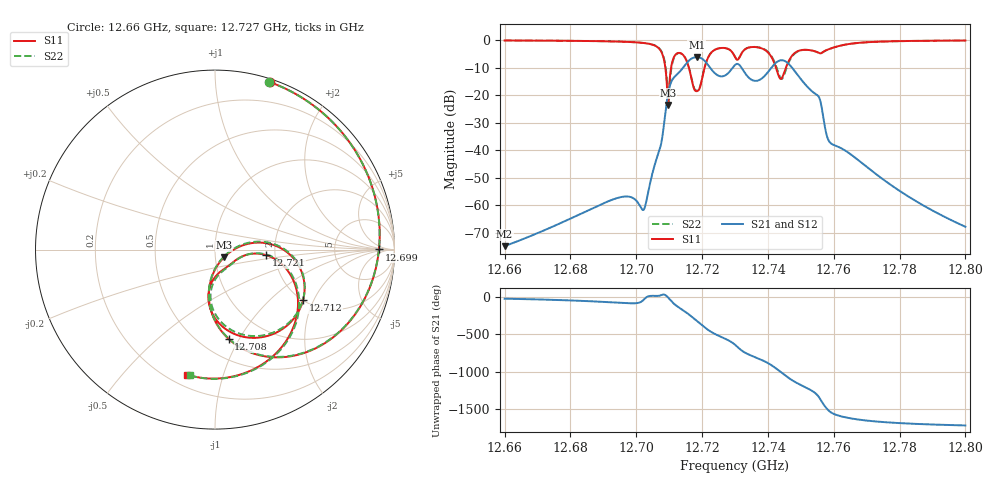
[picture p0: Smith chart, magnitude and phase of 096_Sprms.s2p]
! TOUCHSTONE file generated by CST MICROWAVE STUDIO
! Date and time: Wed Jul 31 15:35:21 2024
! Project name: WaveGuide_BPF-Ver4.1_U-shape_Ku_T3_C4_CWA_2.cst
! Parameters = {cavity_h=16; cavity_l0=10; cavity_l1=15.2036; cavity_l2=16.8186; cavity_l3=17.1157; cavity_l4=17.2529; cavity_l5=17.1453; cavity_l6=17.5694; cavity_r=2.5; cavity_screw_l=0.5; cavity_screw_r=1.5; cavity_w=8; iris_h00=0; iris_h01=8.8149; iris_h112=0; iris_h12=5.5873; iris_h211=3.6557; 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
! Header version: 2018
! Port assignment regex: !\s*Touchstone port\s*([0-9]+)\s*=\s*(CST MWS port|CST DS port)\s*([0-9]+|Zmin|Zmax)\s*\(\"(.*)\"\)(\s*mode\s*([0-9]+))?.*
! Touchstone port assignment:
! Touchstone port 1 = CST MWS port 1 ("")
! Touchstone port 2 = CST MWS port 2 ("")
# GHz S RI R 50
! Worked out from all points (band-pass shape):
!   5001 points, 12.66 GHz to 12.8 GHz, reference 50 ohm
!   highest |S21| = -6.25 dB at 12.718 GHz (marker M1); lowest = -74.9 dB at 12.66 GHz (marker M2)
!   |S21| within 3 dB of the highest: 12.71475 GHz to 12.72194 GHz (7.188 MHz wide, 0.0565 % of centre); 12.74162 GHz to 12.74678 GHz (5.161 MHz wide, 0.0405 % of centre) (the widest 2 of 3)
!   lowest |S11| = -23.6 dB at 12.71 GHz (marker M3), VSWR 1.14, Z = 55.1 - j4.76 ohm
!   |S11| at or under -10 dB: 12.70883 GHz to 12.71058 GHz (1.753 MHz wide, 0.0138 % of centre); 12.71598 GHz to 12.72077 GHz (4.789 MHz wide, 0.0377 % of centre); 12.74243 GHz to 12.74548 GHz (3.054 MHz wide, 0.024 % of centre)
!   |S22| runs from -24.1 to -0.2 dB; largest |S21 - S12| = 1.4e-09
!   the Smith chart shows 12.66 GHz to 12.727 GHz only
!   S11 on the Smith chart (normalised r, x): 12.66 GHz: 0.03, +1.38; 12.699 GHz: 22, +0; 12.708 GHz: 0.68, -0.90; 12.712 GHz: 2.00, -1.67; 12.721 GHz: 1.79, -0.12; 12.727 GHz: 0.27, -0.76
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12.66  0.3053 0.9332  0.000168 -6.64e-05  0.000168 -6.64e-05  0.2987 0.9354
12.68335  0.6998 0.6618  0.000447 -0.00055  0.000447 -0.00055  0.6934 0.6689
12.69912  0.9137 0.00101  0.000139 -0.00133  0.000139 -0.00133  0.9144 0.0156
12.70239  0.8432 -0.2549  0.000747 -0.000414  0.000747 -0.000414  0.8495 -0.239
12.70668  0.4116 -0.596  0.00824 0.00234  0.00824 0.00234  0.4362 -0.5895
12.70816  0.0763 -0.4981  0.0184 0.0121  0.0184 0.0121  0.1028 -0.5177
12.70967  0.0501 -0.043  0.1057 -0.0127  0.1057 -0.0127  0.0218 -0.0714
12.71228  0.4904 -0.2828  -0.1128 -0.2052  -0.1128 -0.2052  0.4962 -0.2528
12.71835  0.0711 -0.0938  0.3599 0.3276  0.3599 0.3276  0.0754 -0.0946
12.72059  0.2847 -0.0308  0.334 -0.2694  0.334 -0.2694  0.2884 -0.0282
12.72703  -0.1564 -0.696  -0.2158 0.0731  -0.2158 0.0731  -0.1406 -0.7004
12.73  -0.353 -0.3436  0.051 0.3485  0.051 0.3485  -0.3456 -0.3542
12.73647  -0.7427 0.0154  -0.00575 -0.1813  -0.00575 -0.1813  -0.7466 -0.00922
12.74056  -0.1974 0.5097  -0.2874 -0.00879  -0.2874 -0.00879  -0.2438 0.5082
12.74369  0.1992 -0.0177  0.0496 0.4229  0.0496 0.4229  0.2052 0.0464
12.7468  -0.3265 -0.3339  0.3265 -0.1065  0.3265 -0.1065  -0.28 -0.3489
12.74985  -0.6144 0.2146  -0.0163 -0.1996  -0.0163 -0.1996  -0.6183 0.1853
12.75335  -0.00653 0.6448  -0.1171 -0.0115  -0.1171 -0.0115  -0.0283 0.6436
12.75806  0.6605 -0.0866  0.00781 -0.0152  0.00781 -0.0152  0.661 -0.0633
12.76296  0.1117 -0.8059  -0.00993 -0.00267  -0.00993 -0.00267  0.1287 -0.8018
12.77668  -0.8603 -0.3918  -0.00128 0.00214  -0.00128 0.00214  -0.8562 -0.3998
12.8  -0.9526 0.2257  6.61e-05 0.000401  6.61e-05 0.000401  -0.9539 0.22
